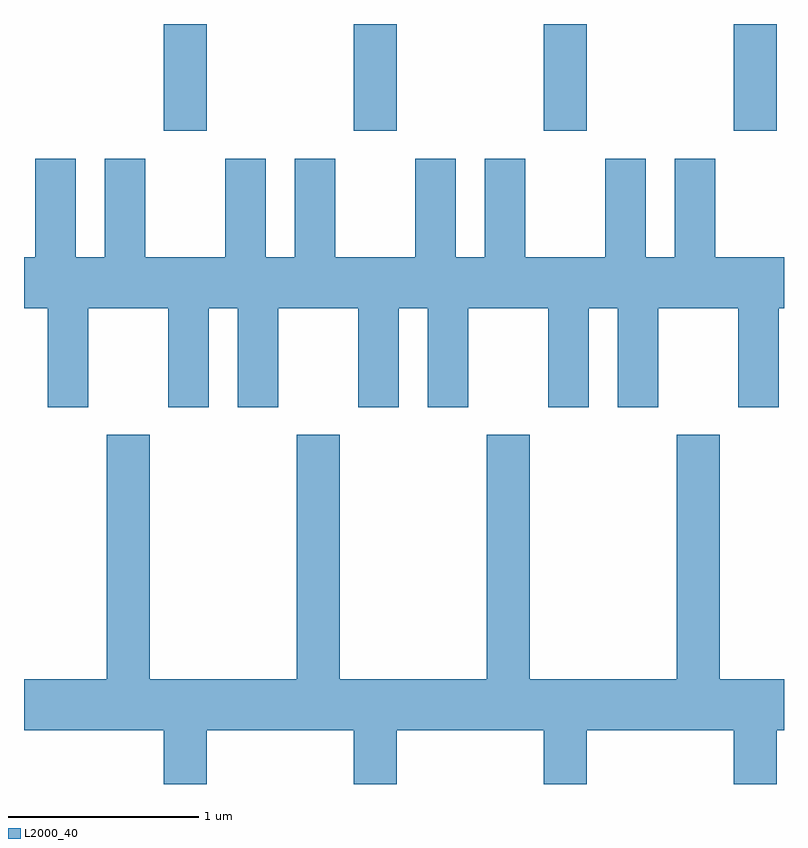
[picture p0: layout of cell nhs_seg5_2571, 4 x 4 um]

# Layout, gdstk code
import gdstk
lib = gdstk.Library(unit=1e-6, precision=1e-09)
def R(c, l, rs):  # rectangles x0, y0, x1, y1
    for r in rs: c.add(gdstk.rectangle(r[:2], r[2:], *l))
def A(c, l, x, y, w, h, nx, ny, dx, dy):  # array of equal rectangles
    R(c, l, [(x+i*dx, y+j*dy, x+i*dx+w, y+j*dy+h) for i in range(nx) for j in range(ny)])
def P(c, l, *ps):  # polygons
    for p in ps: c.add(gdstk.Polygon(p, *l))
L2000_40 = (2000, 40)

nhs_seg5_2571 = lib.new_cell('nhs_seg5_2571')
A(nhs_seg5_2571, L2000_40, 262.346, 1455.511, 0.228, 0.561, 4, 1, 1, 0)
P(nhs_seg5_2571, L2000_40, [(261.949,1454.576),(262.371,1454.576),(262.371,1454.056),(262.584,1454.056),(262.584,1454.576),(262.736,1454.576),(262.736,1454.056),(262.949,1454.056),(262.949,1454.576),(263.371,1454.576),(263.371,1454.056),(263.584,1454.056),(263.584,1454.576),(263.736,1454.576),(263.736,1454.056),(263.949,1454.056),(263.949,1454.576),(264.371,1454.576),(264.371,1454.056),(264.584,1454.056),(264.584,1454.576),(264.736,1454.576),(264.736,1454.056),(264.949,1454.056),(264.949,1454.576),(265.371,1454.576),(265.371,1454.056),(265.584,1454.056),(265.584,1454.576),(265.611,1454.576),(265.611,1454.844),(265.249,1454.844),(265.249,1455.364),(265.036,1455.364),(265.036,1454.844),(264.884,1454.844),(264.884,1455.364),(264.671,1455.364),(264.671,1454.844),(264.249,1454.844),(264.249,1455.364),(264.036,1455.364),(264.036,1454.844),(263.884,1454.844),(263.884,1455.364),(263.671,1455.364),(263.671,1454.844),(263.249,1454.844),(263.249,1455.364),(263.036,1455.364),(263.036,1454.844),(262.884,1454.844),(262.884,1455.364),(262.671,1455.364),(262.671,1454.844),(262.249,1454.844),(262.249,1455.364),(262.036,1455.364),(262.036,1454.844),(261.884,1454.844),(261.884,1455.364),(261.671,1455.364),(261.671,1454.844),(261.611,1454.844),(261.611,1454.576),(261.736,1454.576),(261.736,1454.056),(261.949,1454.056)],
  [(262.574,1452.356),(263.346,1452.356),(263.346,1452.072),(263.574,1452.072),(263.574,1452.356),(264.346,1452.356),(264.346,1452.072),(264.574,1452.072),(264.574,1452.356),(265.346,1452.356),(265.346,1452.072),(265.574,1452.072),(265.574,1452.356),(265.611,1452.356),(265.611,1452.624),(265.274,1452.624),(265.274,1453.909),(265.046,1453.909),(265.046,1452.624),(264.274,1452.624),(264.274,1453.909),(264.046,1453.909),(264.046,1452.624),(263.274,1452.624),(263.274,1453.909),(263.046,1453.909),(263.046,1452.624),(262.274,1452.624),(262.274,1453.909),(262.046,1453.909),(262.046,1452.624),(261.611,1452.624),(261.611,1452.356),(262.346,1452.356),(262.346,1452.072),(262.574,1452.072)])

lib.write_gds('nhs_seg5_2571.gds')
